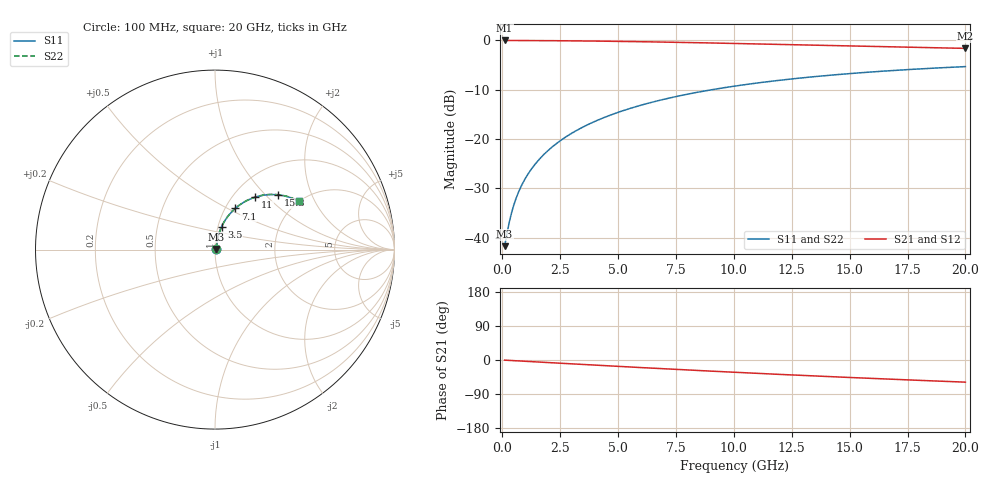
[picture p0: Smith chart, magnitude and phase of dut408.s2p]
! Touchstone file exported from HFSS 2026.1.0
!  File:  C:/ffzhzh/LocalFiles/Ansys_Project_Files/temp_train_BSMRDL_408_1783012489_4048.aedt
!  Generated:  01:16:30 AM Jul  3, 2026
!  Design:  BSMRDL
!  Project:  temp_train_BSMRDL_408_1783012489_4048
! Variables:
!  h_bsmrdl = 2.9um
!  h_ox = 20um
!  h_rdl = 5um
!  h_sub = 80um
!  h_tmrdl = 5um
!  h_tsv = 80um
!  h_via = 3um
!  l_bsmrdl = 887.26um
!  l_sub = 1287.26um
!  l_tmrdl = 200um
!  m_sub = 200um
!  pitch = 42.89um
!  r_tsv = 6um
!  s_tmrdl = 10um
!  w_bsmrdl = 15.39um
!  w_sub = 500um
!  w_tmrdl = 12um
!  x_tsv_center1 = 206um
!  x_tsv_center2 = 1108.65um
!  x_tsv_center3 = 1320.65um
!  x_tsv_center4 = 2223.3um
!  x_tsv_center5 = 2435.3um
!  x_tsv_center6 = 3337.95um
# GHz S MA R 50.000000
! Terminal data exported
! Port[1] = BSM_RDL1_1_T1
! Port[2] = BSM_RDL1_1_T2
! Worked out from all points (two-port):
!   200 points, 100 MHz to 20 GHz, reference 50 ohm
!   highest |S21| = -0.06 dB at 100 MHz (marker M1); lowest = -1.7 dB at 20 GHz (marker M2)
!   |S21| within 3 dB of the highest: start of sweep to end of sweep
!   lowest |S11| = -41.7 dB at 100 MHz (marker M3), VSWR 1.02, Z = 50.7 + j0.413 ohm
!   |S11| at or under -10 dB: start of sweep to 9.103 GHz
!   |S22| runs from -41.7 to -5.4 dB; largest |S21 - S12| = 3.1e-15
!   S11 on the Smith chart (normalised r, x): 100 MHz: 1.01, +0.01; 3.5 GHz: 1.04, +0.27; 7.1 GHz: 1.11, +0.55; 11 GHz: 1.26, +0.85; 15.3 GHz: 1.52, +1.18; 20 GHz: 2.00, +1.51
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0.1  0.008183 29.8  0.9929 -0.4  0.9929 -0.4  0.008183 29.9
! Gamma 0 0 0 0
! Port Impedance 50 0 50 0
0.3  0.01426 57.8  0.9925 -1.1  0.9925 -1.1  0.01426 57.8
0.4  0.01783 63.4  0.9923 -1.4  0.9923 -1.4  0.01783 63.5
0.5  0.02147 67.0  0.992 -1.8  0.992 -1.8  0.02147 67.0
0.6  0.02514 69.5  0.9918 -2.1  0.9918 -2.1  0.02514 69.5
0.8  0.03251 72.6  0.9913 -2.8  0.9913 -2.8  0.03251 72.6
1.1  0.04361 75.0  0.9906 -3.8  0.9906 -3.8  0.04361 75.0
1.6  0.0622 76.4  0.9893 -5.5  0.9893 -5.5  0.0622 76.4
2.1  0.0808 76.4  0.9877 -7.2  0.9877 -7.2  0.0808 76.4
2.7  0.103 75.6  0.9854 -9.2  0.9854 -9.2  0.103 75.6
3.5  0.1323 73.9  0.9815 -11.9  0.9815 -11.9  0.1323 74.0
4.2  0.1575 72.1  0.9774 -14.2  0.9774 -14.2  0.1575 72.2
5  0.1856 69.9  0.9721 -16.8  0.9721 -16.8  0.1856 70.0
6.8  0.2459 64.7  0.9576 -22.6  0.9576 -22.6  0.2459 64.8
7.1  0.2555 63.8  0.9549 -23.5  0.9549 -23.5  0.2555 63.9
8.5  0.2986 59.7  0.9416 -27.8  0.9416 -27.8  0.2986 59.8
10.1  0.3441 55.1  0.9252 -32.6  0.9252 -32.6  0.3441 55.2
11  0.3679 52.5  0.9157 -35.2  0.9157 -35.2  0.3679 52.7
13.4  0.4251 46.0  0.89 -41.9  0.89 -41.9  0.425 46.2
15.3  0.4641 41.1  0.8701 -46.9  0.8701 -46.9  0.4641 41.3
16.7  0.4896 37.6  0.856 -50.5  0.856 -50.5  0.4896 37.8
20  0.5395 29.8  0.8258 -58.4  0.8258 -58.4  0.5395 30.1
